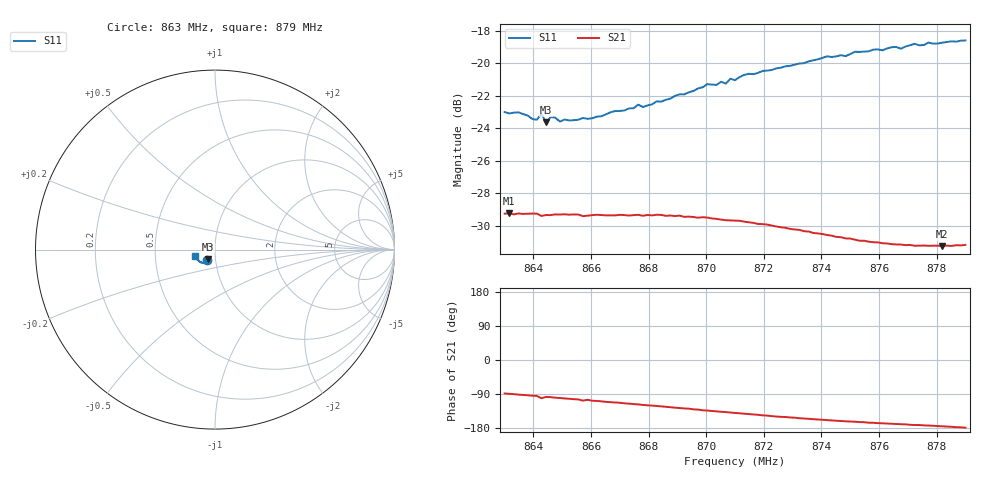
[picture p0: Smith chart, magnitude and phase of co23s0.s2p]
# HZ S RI R 50
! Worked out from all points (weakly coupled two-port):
!   101 points, 863 MHz to 879 MHz, reference 50 ohm
!   highest |S21| = -29.23 dB at 863.16 MHz (marker M1); lowest = -31.2 dB at 878.2 MHz (marker M2)
!   lowest |S11| = -23.6 dB at 864.44 MHz (marker M3), VSWR 1.14, Z = 45.8 - j4.74 ohm
!   |S11| at or under -10 dB: start of sweep to end of sweep
!   S12 and S22 are empty: the file has one direction only
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8.63e8  -0.044 -0.0555  0.00102 -0.0345  0 0  0 0
8.6316e8  -0.0438 -0.0548  0.000454 -0.0346  0 0  0 0
8.6348e8  -0.0428 -0.0563  -0.000861 -0.0345  0 0  0 0
8.6412e8  -0.039 -0.0546  -0.00286 -0.0344  0 0  0 0
8.6428e8  -0.04 -0.0573  -0.0064 -0.0333  0 0  0 0
8.6444e8  -0.041 -0.0515  -0.00439 -0.0339  0 0  0 0
8.646e8  -0.0383 -0.0567  -0.00477 -0.0338  0 0  0 0
8.6492e8  -0.0374 -0.0547  -0.00613 -0.0337  0 0  0 0
8.6572e8  -0.0351 -0.0582  -0.0101 -0.0324  0 0  0 0
8.6604e8  -0.0348 -0.0582  -0.0102 -0.0326  0 0  0 0
8.6764e8  -0.0368 -0.065  -0.0156 -0.0305  0 0  0 0
8.678e8  -0.0352 -0.0644  -0.0163 -0.0299  0 0  0 0
8.6844e8  -0.0361 -0.0672  -0.0183 -0.0289  0 0  0 0
8.7004e8  -0.0449 -0.0737  -0.023 -0.0244  0 0  0 0
8.71e8  -0.0498 -0.0734  -0.0251 -0.0212  0 0  0 0
8.7132e8  -0.0523 -0.0759  -0.0256 -0.0202  0 0  0 0
8.7372e8  -0.0703 -0.0741  -0.0275 -0.0122  0 0  0 0
8.7644e8  -0.0953 -0.0591  -0.0272 -0.00565  0 0  0 0
8.7676e8  -0.0942 -0.0586  -0.0273 -0.00507  0 0  0 0
8.7724e8  -0.1012 -0.0543  -0.0272 -0.00401  0 0  0 0
8.782e8  -0.107 -0.0442  -0.0273 -0.00243  0 0  0 0
8.79e8  -0.112 -0.036  -0.0277 -0.000677  0 0  0 0
